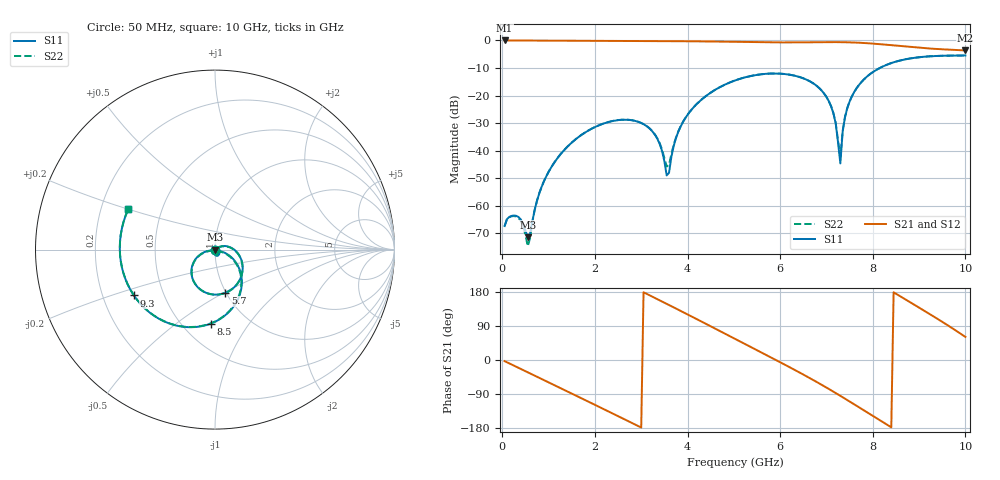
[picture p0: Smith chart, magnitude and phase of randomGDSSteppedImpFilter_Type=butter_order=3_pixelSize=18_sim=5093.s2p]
! freq	dB(S11)	phase(S11)	dB(S12)	phase(S12)
!  dB(S21)	phase(S21)	dB(S22)	phase(S22)
!S-par simulation data
#  GHz  S  DB  R 50
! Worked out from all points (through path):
!   200 points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, 50 MHz to 10 GHz, reference 50 ohm
!   highest |S21| = -0.01 dB at 50 MHz (marker M1); lowest = -3.6 dB at 10 GHz (marker M2)
!   group delay of S21, straight-line fit = 181 ps
!   lowest |S11| = -71.5 dB at 550 MHz (marker M3), VSWR 1.00, Z = 50 - j0.0128 ohm
!   |S11| at or under -10 dB: start of sweep to 8.151 GHz
!   |S22| runs from -74.7 to -5.5 dB; largest |S21 - S12| = 0
!   S11 on the Smith chart (normalised r, x): 50 MHz: 1.00, -0.00; 5.7 GHz: 0.99, -0.51; 8.5 GHz: 0.68, -0.68; 9.3 GHz: 0.34, -0.23; 10 GHz: 0.32, +0.20
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0.05  -67.39 -4.2  -0.01 -3.0  -0.01 -3.0  -67.40 -4.2
0.35  -64.11 -62.0  -0.04 -20.7  -0.04 -20.7  -64.48 -64.4
0.55  -71.51 -28.9  -0.05 -32.5  -0.05 -32.5  -74.69 -25.9
0.75  -58.17 45.5  -0.06 -44.3  -0.06 -44.3  -58.12 53.2
0.95  -49.34 37.9  -0.07 -56.1  -0.07 -56.1  -49.28 42.2
1.75  -33.84 -10.1  -0.12 -103.4  -0.12 -103.4  -33.82 -7.9
2.8  -28.99 -72.0  -0.21 -166.2  -0.21 -166.2  -28.96 -69.6
3.4  -37.62 -100.2  -0.25 157.4  -0.25 157.4  -37.33 -92.8
3.55  -49.01 -60.2  -0.26 148.2  -0.26 148.2  -45.78 -50.7
4  -27.02 25.9  -0.30 120.3  -0.30 120.3  -26.97 23.7
5.05  -14.39 -36.3  -0.52 54.2  -0.52 54.2  -14.38 -36.6
5.7  -12.11 -76.8  -0.68 13.2  -0.68 13.2  -12.11 -76.9
6.7  -15.43 -140.4  -0.65 -51.9  -0.65 -51.9  -15.42 -139.9
7.1  -23.91 -166.3  -0.60 -79.9  -0.60 -79.9  -23.88 -164.3
7.2  -30.15 -170.2  -0.61 -87.2  -0.61 -87.2  -30.03 -165.9
7.3  -44.67 -58.9  -0.62 -94.5  -0.62 -94.5  -42.15 -68.2
7.4  -27.85 -16.2  -0.65 -102.0  -0.65 -102.0  -27.80 -20.0
7.55  -20.25 -24.4  -0.72 -113.3  -0.72 -113.3  -20.25 -26.1
8.35  -8.52 -82.3  -1.65 -173.9  -1.65 -173.9  -8.52 -82.8
8.5  -7.69 -93.1  -1.89 174.9  -1.89 174.9  -7.69 -93.6
9.3  -5.70 -150.5  -3.02 115.9  -3.02 115.9  -5.70 -151.0
10  -5.46 155.1  -3.63 60.9  -3.63 60.9  -5.46 154.7
